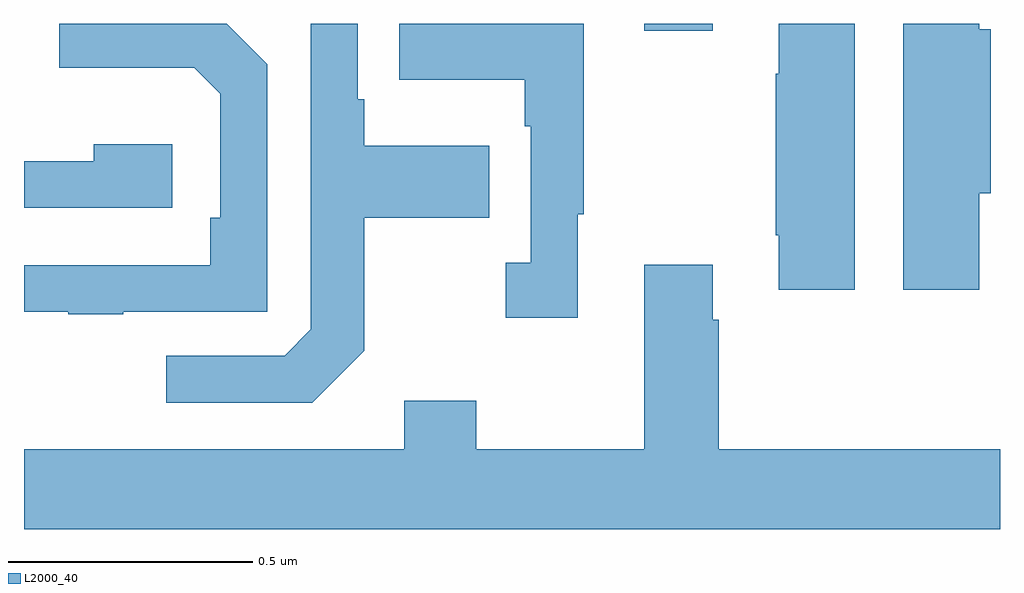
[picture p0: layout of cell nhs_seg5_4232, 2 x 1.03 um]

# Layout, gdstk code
import gdstk
lib = gdstk.Library(unit=1e-6, precision=1e-09)
def R(c, l, rs):  # rectangles x0, y0, x1, y1
    for r in rs: c.add(gdstk.rectangle(r[:2], r[2:], *l))
def P(c, l, *ps):  # polygons
    for p in ps: c.add(gdstk.Polygon(p, *l))
L2000_40 = (2000, 40)

nhs_seg5_4232 = lib.new_cell('nhs_seg5_4232')
R(nhs_seg5_4232, L2000_40, [(169.271,853.785,169.411,853.799)])
P(nhs_seg5_4232, L2000_40, [(169.135,853.409),(169.147,853.409),(169.147,853.799),(168.769,853.799),(168.769,853.685),(169.026,853.685),(169.026,853.589),(169.038,853.589),(169.038,853.31),(168.987,853.31),(168.987,853.197),(169.135,853.197)],
  [(169.957,853.452),(169.981,853.452),(169.981,853.788),(169.957,853.788),(169.957,853.799),(169.802,853.799),(169.802,853.254),(169.957,853.254)],
  [(169.702,853.799),(169.547,853.799),(169.547,853.697),(169.54,853.697),(169.54,853.366),(169.547,853.366),(169.547,853.254),(169.702,853.254)],
  [(168.203,853.209),(168.498,853.209),(168.498,853.716),(168.415,853.799),(168.072,853.799),(168.072,853.709),(168.349,853.709),(168.402,853.656),(168.402,853.402),(168.382,853.402),(168.382,853.305),(168,853.305),(168,853.209),(168.091,853.209),(168.091,853.204),(168.203,853.204)],
  [(168.697,853.129),(168.697,853.402),(168.953,853.402),(168.953,853.549),(168.697,853.549),(168.697,853.645),(168.684,853.645),(168.684,853.799),(168.588,853.799),(168.588,853.173),(168.534,853.119),(168.291,853.119),(168.291,853.023),(168.591,853.023)],
  [(168.304,853.552),(168.143,853.552),(168.143,853.518),(168,853.518),(168,853.422),(168.304,853.422)],
  [(170,852.928),(169.424,852.928),(169.424,853.193),(169.411,853.193),(169.411,853.306),(169.271,853.306),(169.271,852.928),(168.927,852.928),(168.927,853.027),(168.779,853.027),(168.779,852.928),(168,852.928),(168,852.764),(170,852.764)])

lib.write_gds('nhs_seg5_4232.gds')
